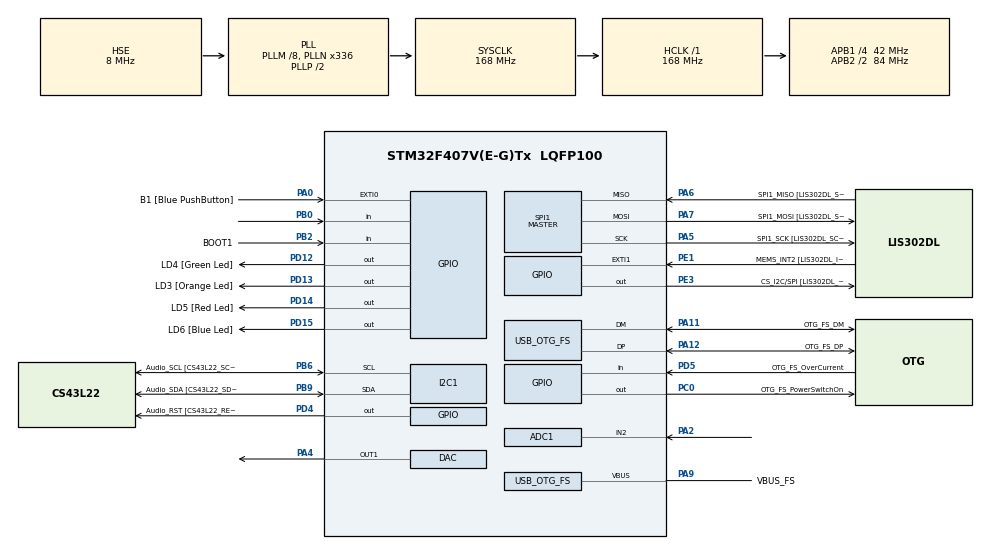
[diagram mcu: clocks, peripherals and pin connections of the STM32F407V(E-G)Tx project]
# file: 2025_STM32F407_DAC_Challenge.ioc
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ADC1.Channel-1\#ChannelRegularConversion=ADC_CHANNEL_2
ADC1.NbrOfConversionFlag=1
ADC1.Rank-1\#ChannelRegularConversion=1
ADC1.SamplingTime-1\#ChannelRegularConversion=ADC_SAMPLETIME_3CYCLES
ADC1.master=1
DAC.DAC_Trigger=DAC_TRIGGER_T2_TRGO
Dma.DAC1.0.Direction=DMA_MEMORY_TO_PERIPH
Dma.DAC1.0.FIFOMode=DMA_FIFOMODE_DISABLE
Dma.DAC1.0.Instance=DMA1_Stream5
Dma.DAC1.0.MemDataAlignment=DMA_MDATAALIGN_WORD
Dma.DAC1.0.MemInc=DMA_MINC_ENABLE
Dma.DAC1.0.Mode=DMA_CIRCULAR
Dma.DAC1.0.PeriphDataAlignment=DMA_PDATAALIGN_WORD
Dma.DAC1.0.PeriphInc=DMA_PINC_DISABLE
Dma.DAC1.0.Priority=DMA_PRIORITY_LOW
Dma.Request0=DAC1
Mcu.Family=STM32F4
Mcu.Name=STM32F407V(E-G)Tx
Mcu.Package=LQFP100
NVIC.DMA1_Stream5_IRQn=true\:0\:0\:false\:false\:true\:false\:true\:true
NVIC.OTG_FS_IRQn=true\:0\:0\:false\:false\:true\:true\:true\:true
NVIC.PriorityGroup=NVIC_PRIORITYGROUP_0
PA0-WKUP.GPIO_Label=B1 [Blue PushButton]
PA0-WKUP.GPIO_ModeDefaultEXTI=GPIO_MODE_EVT_RISING
PA0-WKUP.GPIO_PuPd=GPIO_NOPULL
PA0-WKUP.Signal=GPXTI0
PA10.GPIO_Label=OTG_FS_ID
PA10.GPIO_Mode=GPIO_MODE_AF_PP
PA10.GPIO_PuPd=GPIO_NOPULL
PA10.GPIO_Speed=GPIO_SPEED_FREQ_LOW
PA10.Signal=USB_OTG_FS_ID
PA11.GPIO_Label=OTG_FS_DM
PA11.GPIO_Mode=GPIO_MODE_AF_PP
PA11.GPIO_PuPd=GPIO_NOPULL
PA11.GPIO_Speed=GPIO_SPEED_FREQ_LOW
PA11.Mode=Host_Only
PA11.Signal=USB_OTG_FS_DM
PA12.GPIO_Label=OTG_FS_DP
PA12.GPIO_Mode=GPIO_MODE_AF_PP
PA12.GPIO_PuPd=GPIO_NOPULL
PA12.GPIO_Speed=GPIO_SPEED_FREQ_LOW
PA12.Mode=Host_Only
PA12.Signal=USB_OTG_FS_DP
PA13.GPIO_Label=SWDIO
PA13.Mode=Serial_Wire
PA13.Signal=SYS_JTMS-SWDIO
PA14.GPIO_Label=SWCLK
PA14.Mode=Serial_Wire
PA14.Signal=SYS_JTCK-SWCLK
PA2.Signal=ADCx_IN2
PA4.Signal=COMP_DAC1_group
PA5.GPIO_Label=SPI1_SCK [LIS302DL_SCL/SPC]
PA5.GPIO_Mode=GPIO_MODE_AF_PP
PA5.GPIO_PuPd=GPIO_NOPULL
PA5.GPIO_Speed=GPIO_SPEED_FREQ_LOW
PA5.Mode=Full_Duplex_Master
PA5.Signal=SPI1_SCK
PA6.GPIO_Label=SPI1_MISO [LIS302DL_SDO]
PA6.GPIO_Mode=GPIO_MODE_AF_PP
PA6.GPIO_PuPd=GPIO_NOPULL
PA6.GPIO_Speed=GPIO_SPEED_FREQ_LOW
PA6.Mode=Full_Duplex_Master
PA6.Signal=SPI1_MISO
PA7.GPIO_Label=SPI1_MOSI [LIS302DL_SDA/SDI/SDO]
PA7.GPIO_Mode=GPIO_MODE_AF_PP
PA7.GPIO_PuPd=GPIO_NOPULL
PA7.GPIO_Speed=GPIO_SPEED_FREQ_LOW
PA7.Mode=Full_Duplex_Master
PA7.Signal=SPI1_MOSI
PA9.GPIO_Label=VBUS_FS
PA9.GPIO_Mode=GPIO_MODE_INPUT
PA9.GPIO_PuPd=GPIO_NOPULL
PA9.Mode=Activate_VBUS
PA9.Signal=USB_OTG_FS_VBUS
PB0.Signal=GPIO_Input
PB10.GPIO_Label=CLK_IN [MP45DT02_CLK]
PB10.GPIO_Mode=GPIO_MODE_AF_PP
PB10.GPIO_PuPd=GPIO_NOPULL
PB10.GPIO_Speed=GPIO_SPEED_FREQ_LOW
PB10.Signal=I2S2_CK
PB2.GPIO_Label=BOOT1
PB2.GPIO_Mode=GPIO_MODE_INPUT
PB2.GPIO_PuPd=GPIO_NOPULL
PB2.Signal=GPIO_Input
PB3.GPIO_Label=SWO
PB3.Signal=SYS_JTDO-SWO
PB6.GPIO_Label=Audio_SCL [CS43L22_SCL]
PB6.GPIO_Mode=GPIO_MODE_AF_OD
PB6.GPIO_Pu=GPIO_PULLUP
PB6.GPIO_PuPd=GPIO_NOPULL
PB6.GPIO_Speed=GPIO_SPEED_FREQ_LOW
PB6.Mode=I2C
PB6.Signal=I2C1_SCL
PB9.GPIO_Label=Audio_SDA [CS43L22_SDA]
PB9.GPIO_Mode=GPIO_MODE_AF_OD
PB9.GPIO_Pu=GPIO_PULLUP
PB9.GPIO_PuPd=GPIO_NOPULL
PB9.GPIO_Speed=GPIO_SPEED_FREQ_LOW
PB9.Mode=I2C
PB9.Signal=I2C1_SDA
PC0.GPIO_Label=OTG_FS_PowerSwitchOn
PC0.GPIO_PuPd=GPIO_NOPULL
PC0.GPIO_Speed=GPIO_SPEED_FREQ_LOW
PC0.PinState=GPIO_PIN_SET
PC0.Signal=GPIO_Output
PC10.GPIO_Label=I2S3_SCK [CS43L22_SCLK]
PC10.GPIO_Mode=GPIO_MODE_AF_PP
PC10.GPIO_PuPd=GPIO_NOPULL
PC10.GPIO_Speed=GPIO_SPEED_FREQ_LOW
PC10.Signal=I2S3_CK
PC12.GPIO_Label=I2S3_SD [CS43L22_SDIN]
PC12.GPIO_Mode=GPIO_MODE_AF_PP
PC12.GPIO_PuPd=GPIO_NOPULL
PC12.GPIO_Speed=GPIO_SPEED_FREQ_LOW
PC12.Signal=I2S3_SD
PC14-OSC32_IN.GPIO_Label=PC14-OSC32_IN
PC14-OSC32_IN.Mode=LSE-External-Oscillator
PC14-OSC32_IN.Signal=RCC_OSC32_IN
PC15-OSC32_OUT.GPIO_Label=PC15-OSC32_OUT
PC15-OSC32_OUT.Mode=LSE-External-Oscillator
PC15-OSC32_OUT.Signal=RCC_OSC32_OUT
PC3.GPIO_Label=PDM_OUT [MP45DT02_DOUT]
PC3.GPIO_Mode=GPIO_MODE_AF_PP
PC3.GPIO_PuPd=GPIO_NOPULL
PC3.GPIO_Speed=GPIO_SPEED_FREQ_LOW
PC3.Signal=I2S2_SD
PC7.GPIO_Label=I2S3_MCK [CS43L22_MCLK]
PC7.GPIO_Mode=GPIO_MODE_AF_PP
PC7.GPIO_PuPd=GPIO_NOPULL
PC7.GPIO_Speed=GPIO_SPEED_FREQ_LOW
PC7.Signal=I2S3_MCK
PD12.GPIO_Label=LD4 [Green Led]
PD12.GPIO_PuPd=GPIO_NOPULL
PD12.GPIO_Speed=GPIO_SPEED_FREQ_LOW
PD12.Signal=GPIO_Output
PD13.GPIO_Label=LD3 [Orange Led]
PD13.GPIO_PuPd=GPIO_NOPULL
PD13.GPIO_Speed=GPIO_SPEED_FREQ_LOW
PD13.Signal=GPIO_Output
PD14.GPIO_Label=LD5 [Red Led]
PD14.GPIO_PuPd=GPIO_NOPULL
PD14.GPIO_Speed=GPIO_SPEED_FREQ_LOW
PD14.Signal=GPIO_Output
PD15.GPIO_Label=LD6 [Blue Led]
PD15.GPIO_PuPd=GPIO_NOPULL
PD15.GPIO_Speed=GPIO_SPEED_FREQ_LOW
PD15.Signal=GPIO_Output
PD4.GPIO_Label=Audio_RST [CS43L22_RESET]
PD4.GPIO_PuPd=GPIO_NOPULL
PD4.GPIO_Speed=GPIO_SPEED_FREQ_LOW
PD4.Signal=GPIO_Output
PD5.GPIO_Label=OTG_FS_OverCurrent
PD5.GPIO_Mode=GPIO_MODE_INPUT
PD5.GPIO_PuPd=GPIO_NOPULL
PD5.Signal=GPIO_Input
PE1.GPIO_Label=MEMS_INT2 [LIS302DL_INT2]
PE1.GPIO_ModeDefaultEXTI=GPIO_MODE_EVT_RISING
PE1.GPIO_PuPd=GPIO_NOPULL
PE1.Signal=GPXTI1
PE3.GPIO_Label=CS_I2C/SPI [LIS302DL_CS_I2C/SPI]
PE3.GPIO_PuPd=GPIO_NOPULL
PE3.GPIO_Speed=GPIO_SPEED_FREQ_LOW
PE3.Signal=GPIO_Output
PH0-OSC_IN.GPIO_Label=PH0-OSC_IN
PH0-OSC_IN.Mode=HSE-External-Oscillator
PH0-OSC_IN.Signal=RCC_OSC_IN
PH1-OSC_OUT.GPIO_Label=PH1-OSC_OUT
PH1-OSC_OUT.Mode=HSE-External-Oscillator
PH1-OSC_OUT.Signal=RCC_OSC_OUT
ProjectManager.HeapSize=0x200
ProjectManager.StackSize=0x400
ProjectManager.TargetToolchain=STM32CubeIDE
RCC.48MHZClocksFreq_Value=48000000
RCC.AHBFreq_Value=168000000
RCC.APB1CLKDivider=RCC_HCLK_DIV4
RCC.APB1Freq_Value=42000000
RCC.APB1TimFreq_Value=84000000
RCC.APB2CLKDivider=RCC_HCLK_DIV2
RCC.APB2Freq_Value=84000000
RCC.APB2TimFreq_Value=168000000
RCC.CortexFreq_Value=168000000
RCC.HCLKFreq_Value=168000000
RCC.HSE_VALUE=8000000
RCC.HSI_VALUE=16000000
RCC.PLLM=8
RCC.PLLN=336
RCC.PLLQ=7
RCC.SYSCLKFreq_VALUE=168000000
RCC.SYSCLKSource=RCC_SYSCLKSOURCE_PLLCLK
RCC.VCOOutputFreq_Value=336000000
SH.ADCx_IN2.0=ADC1_IN2,IN2
SH.COMP_DAC1_group.0=DAC_OUT1,DAC_OUT1
SPI1.BaudRatePrescaler-Full_Duplex_Master=SPI_BAUDRATEPRESCALER_2
SPI1.CalculateBaudRate-Full_Duplex_Master=42.0 MBits/s
SPI1.Direction=SPI_DIRECTION_2LINES
SPI1.Mode=SPI_MODE_MASTER
SPI1.Mode-Full_Duplex_Master=SPI_MODE_MASTER
SPI1.VirtualType=VM_MASTER
TIM2.Period=100-1
TIM2.Prescaler=84-1
TIM2.TIM_MasterOutputTrigger=TIM_TRGO_UPDATE
USB_HOST.BSP.number=1
USB_HOST.USBH_HandleTypeDef-CDC_FS=hUsbHostFS
USB_HOST.VirtualModeFS=Cdc
USB_HOST0.BSP.STBoard=false
USB_HOST0.BSP.api=Unknown
USB_HOST0.BSP.instance=PC0
USB_HOST0.BSP.ip=GPIO
USB_HOST0.BSP.mode=Output
USB_HOST0.BSP.name=Drive_VBUS_FS
USB_HOST0.BSP.solution=PC0
USB_OTG_FS.VirtualMode=Host_Only
USB_OTG_FS.phy_itface=HCD_PHY_EMBEDDED
VP_TIM2_VS_ClockSourceINT.Mode=Internal
VP_USB_HOST_VS_USB_HOST_CDC_FS.Mode=CDC_FS
board=STM32F407G-DISC1

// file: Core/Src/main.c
/* USER CODE BEGIN Header */
/**
  ******************************************************************************
  * @file           : main.c
  * @brief          : Main program body
  ******************************************************************************
  * @attention
  *
  * Copyright (c) 2025 STMicroelectronics.
  * All rights reserved.
  *
  * This software is licensed under terms that can be found in the LICENSE file
  * in the root directory of this software component.
  * If no LICENSE file comes with this software, it is provided AS-IS.
  *
  ******************************************************************************
  */
/* USER CODE END Header */
#include "main.h"
#include "usb_host.h"

/* USER CODE BEGIN Includes */
#include "math.h"
/* USER CODE END Includes */

ADC_HandleTypeDef hadc1;

DAC_HandleTypeDef hdac;
DMA_HandleTypeDef hdma_dac1;

I2C_HandleTypeDef hi2c1;

SPI_HandleTypeDef hspi1;

TIM_HandleTypeDef htim2;

/* USER CODE BEGIN PV */

#define PI 3.14159265358979323846
#define MAX_SINE_POINTS 4096 // Maximum possible points (e.g., from 12-bit ADC max value + 1)
                             // Adjust if your ADC range for NUM_POINTS is smaller or memory is very tight.

uint32_t gSine_Values[MAX_SINE_POINTS]; // Statically allocate for max size
volatile uint16_t NUM_POINTS = 100;     // Current number of points for the sine wave.
                                        // Initialize to a sensible default.
                                        // 'volatile' because it's changed in main loop and DMA setup uses it.
uint16_t gADC_Value = 0;                // To store the raw ADC reading

/* USER CODE END PV */

void SystemClock_Config(void);
static void MX_GPIO_Init(void);
static void MX_DMA_Init(void);
static void MX_I2C1_Init(void);
static void MX_SPI1_Init(void);
static void MX_DAC_Init(void);
static void MX_TIM2_Init(void);
static void MX_ADC1_Init(void);
void MX_USB_HOST_Process(void);

/* USER CODE BEGIN 0 */
double map(long x, long in_min, long in_max, long out_min, long out_max) {

  return (x - in_min) * (out_max - out_min) / (in_max - in_min) + out_min;

}

void get_SineVal()
{
	for(int i=0; i<NUM_POINTS; i++){
		gSine_Values[i] = ((sin(i*2*PI/NUM_POINTS)+1)*(4096/2));
	}
}

void update_SineWaveTable()
{
    if (NUM_POINTS == 0) { // Prevent division by zero and zero-length DMA
        // This case should ideally be handled before calling this function
        // by ensuring NUM_POINTS is always >= a minimum (e.g., 2)
        return;
    }
    if (NUM_POINTS > MAX_SINE_POINTS) {
        // This should also be prevented by sanitizing NUM_POINTS
        return;
    }

    for(uint16_t i = 0; i < NUM_POINTS; i++) { // Ensure loop variable matches NUM_POINTS type
        // Use floating point numbers for calculation for precision
        // (sin() returns -1.0 to 1.0) + 1.0 => 0.0 to 2.0
        // Scale to 0-4095 for a 12-bit DAC
        gSine_Values[i] = (uint32_t)((sin( (double)i * 2.0 * PI / map(NUM_POINTS, 0, 4096, 20, 100) ) + 1.0) * (4095.0 / 2.0));
    }
}

/* USER CODE END 0 */

int main(void)
{

  /* MCU Configuration--------------------------------------------------------*/

  /* Reset of all peripherals, Initializes the Flash interface and the Systick. */
  HAL_Init();

  /* Configure the system clock */
  SystemClock_Config();

  /* Initialize all configured peripherals */
  MX_GPIO_Init();
  MX_DMA_Init();
  MX_I2C1_Init();
  MX_SPI1_Init();
  MX_USB_HOST_Init();
  MX_DAC_Init();
  MX_TIM2_Init();
  MX_ADC1_Init();
  /* USER CODE BEGIN 2 */

  // --- Initial ADC reading to set NUM_POINTS before first use ---
  HAL_ADC_Start(&hadc1);
  if (HAL_ADC_PollForConversion(&hadc1, 100) == HAL_OK) { // Check poll success
    gADC_Value = HAL_ADC_GetValue(&hadc1);
  } else {
    gADC_Value = NUM_POINTS; // Fallback to default if ADC poll fails
  }
  HAL_ADC_Stop(&hadc1);

  // Sanitize and set NUM_POINTS from the initial ADC reading
  if (gADC_Value < 4) { // Ensure at least 2 points for a "wave" and prevent issues
    NUM_POINTS = 4;
  } else if (gADC_Value >= MAX_SINE_POINTS) { // Cap at max buffer size
    NUM_POINTS = MAX_SINE_POINTS;
  } else {
    NUM_POINTS = gADC_Value;
  }
  // --- End of initial NUM_POINTS setup ---

  HAL_TIM_Base_Start(&htim2); // Start timer that triggers DAC DMA

  update_SineWaveTable(); // Calculate sine wave based on initial NUM_POINTS

  // Start DAC DMA transfer
  // Ensure NUM_POINTS is valid before starting DMA
  if (NUM_POINTS > 0 && NUM_POINTS <= MAX_SINE_POINTS) {
    HAL_DAC_Start_DMA(&hdac, DAC_CHANNEL_1, gSine_Values, NUM_POINTS, DAC_ALIGN_12B_R);
  } else {
    // Handle error: NUM_POINTS is invalid for DMA
    Error_Handler();
  }

  /* USER CODE END 2 */

  /* Infinite loop */
  /* USER CODE BEGIN WHILE */
  while (1)
  {
	  uint16_t new_adc_value;
	  uint16_t new_num_points;

	  // Read ADC
	  HAL_ADC_Start(&hadc1);
	  if (HAL_ADC_PollForConversion(&hadc1, 100) == HAL_OK) {
		  new_adc_value = HAL_ADC_GetValue(&hadc1);
	  } else {
		  new_adc_value = NUM_POINTS; // Keep current NUM_POINTS if ADC poll fails
	  }
	  HAL_ADC_Stop(&hadc1);

	  // Sanitize the new value to determine new_num_points
	  if (new_adc_value < 2) { // Minimum 2 points
		  new_num_points = 2;
	  } else if (new_adc_value >= MAX_SINE_POINTS) {
		  new_num_points = MAX_SINE_POINTS;
	  } else {
		  new_num_points = new_adc_value;
	  }

	  // Only update and restart DMA if NUM_POINTS has actually changed
	  if (new_num_points != NUM_POINTS) {
		  HAL_DAC_Stop_DMA(&hdac, DAC_CHANNEL_1); // Stop existing DMA

		  NUM_POINTS = new_num_points; // Update global NUM_POINTS
		  gADC_Value = new_adc_value;   // Store the raw ADC value (optional if only NUM_POINTS is used elsewhere)

		  update_SineWaveTable(); // Recalculate sine wave values

		  // Restart DMA with new data and length
		  if (NUM_POINTS > 0 && NUM_POINTS <= MAX_SINE_POINTS) {
			 HAL_DAC_Start_DMA(&hdac, DAC_CHANNEL_1, gSine_Values, NUM_POINTS, DAC_ALIGN_12B_R);
		  } else {
			  // This should not happen if sanitized correctly
			  Error_Handler();
		  }
	  }
    /* USER CODE END WHILE */
    MX_USB_HOST_Process();

  }
}

void SystemClock_Config(void)
{
  RCC_OscInitTypeDef RCC_OscInitStruct = {0};
  RCC_ClkInitTypeDef RCC_ClkInitStruct = {0};

  /** Configure the main internal regulator output voltage
  */
  __HAL_RCC_PWR_CLK_ENABLE();
  __HAL_PWR_VOLTAGESCALING_CONFIG(PWR_REGULATOR_VOLTAGE_SCALE1);

  /** Initializes the RCC Oscillators according to the specified parameters
  * in the RCC_OscInitTypeDef structure.
  */
  RCC_OscInitStruct.OscillatorType = RCC_OSCILLATORTYPE_HSE;
  RCC_OscInitStruct.HSEState = RCC_HSE_ON;
  RCC_OscInitStruct.PLL.PLLState = RCC_PLL_ON;
  RCC_OscInitStruct.PLL.PLLSource = RCC_PLLSOURCE_HSE;
  RCC_OscInitStruct.PLL.PLLM = 8;
  RCC_OscInitStruct.PLL.PLLN = 336;
  RCC_OscInitStruct.PLL.PLLP = RCC_PLLP_DIV2;
  RCC_OscInitStruct.PLL.PLLQ = 7;
  if (HAL_RCC_OscConfig(&RCC_OscInitStruct) != HAL_OK)
  {
    Error_Handler();
  }

  /** Initializes the CPU, AHB and APB buses clocks
  */
  RCC_ClkInitStruct.ClockType = RCC_CLOCKTYPE_HCLK|RCC_CLOCKTYPE_SYSCLK
                              |RCC_CLOCKTYPE_PCLK1|RCC_CLOCKTYPE_PCLK2;
  RCC_ClkInitStruct.SYSCLKSource = RCC_SYSCLKSOURCE_PLLCLK;
  RCC_ClkInitStruct.AHBCLKDivider = RCC_SYSCLK_DIV1;
  RCC_ClkInitStruct.APB1CLKDivider = RCC_HCLK_DIV4;
  RCC_ClkInitStruct.APB2CLKDivider = RCC_HCLK_DIV2;

  if (HAL_RCC_ClockConfig(&RCC_ClkInitStruct, FLASH_LATENCY_5) != HAL_OK)
  {
    Error_Handler();
  }
}

static void MX_ADC1_Init(void)
{

  ADC_ChannelConfTypeDef sConfig = {0};

  /** Configure the global features of the ADC (Clock, Resolution, Data Alignment and number of conversion)
  */
  hadc1.Instance = ADC1;
  hadc1.Init.ClockPrescaler = ADC_CLOCK_SYNC_PCLK_DIV4;
  hadc1.Init.Resolution = ADC_RESOLUTION_12B;
  hadc1.Init.ScanConvMode = DISABLE;
  hadc1.Init.ContinuousConvMode = DISABLE;
  hadc1.Init.DiscontinuousConvMode = DISABLE;
  hadc1.Init.ExternalTrigConvEdge = ADC_EXTERNALTRIGCONVEDGE_NONE;
  hadc1.Init.ExternalTrigConv = ADC_SOFTWARE_START;
  hadc1.Init.DataAlign = ADC_DATAALIGN_RIGHT;
  hadc1.Init.NbrOfConversion = 1;
  hadc1.Init.DMAContinuousRequests = DISABLE;
  hadc1.Init.EOCSelection = ADC_EOC_SINGLE_CONV;
  if (HAL_ADC_Init(&hadc1) != HAL_OK)
  {
    Error_Handler();
  }

  /** Configure for the selected ADC regular channel its corresponding rank in the sequencer and its sample time.
  */
  sConfig.Channel = ADC_CHANNEL_2;
  sConfig.Rank = 1;
  sConfig.SamplingTime = ADC_SAMPLETIME_3CYCLES;
  if (HAL_ADC_ConfigChannel(&hadc1, &sConfig) != HAL_OK)
  {
    Error_Handler();
  }

}

static void MX_DAC_Init(void)
{

  DAC_ChannelConfTypeDef sConfig = {0};

  /** DAC Initialization
  */
  hdac.Instance = DAC;
  if (HAL_DAC_Init(&hdac) != HAL_OK)
  {
    Error_Handler();
  }

  /** DAC channel OUT1 config
  */
  sConfig.DAC_Trigger = DAC_TRIGGER_T2_TRGO;
  sConfig.DAC_OutputBuffer = DAC_OUTPUTBUFFER_ENABLE;
  if (HAL_DAC_ConfigChannel(&hdac, &sConfig, DAC_CHANNEL_1) != HAL_OK)
  {
    Error_Handler();
  }

}

static void MX_I2C1_Init(void)
{

  hi2c1.Instance = I2C1;
  hi2c1.Init.ClockSpeed = 100000;
  hi2c1.Init.DutyCycle = I2C_DUTYCYCLE_2;
  hi2c1.Init.OwnAddress1 = 0;
  hi2c1.Init.AddressingMode = I2C_ADDRESSINGMODE_7BIT;
  hi2c1.Init.DualAddressMode = I2C_DUALADDRESS_DISABLE;
  hi2c1.Init.OwnAddress2 = 0;
  hi2c1.Init.GeneralCallMode = I2C_GENERALCALL_DISABLE;
  hi2c1.Init.NoStretchMode = I2C_NOSTRETCH_DISABLE;
  if (HAL_I2C_Init(&hi2c1) != HAL_OK)
  {
    Error_Handler();
  }

}

static void MX_SPI1_Init(void)
{

  /* SPI1 parameter configuration*/
  hspi1.Instance = SPI1;
  hspi1.Init.Mode = SPI_MODE_MASTER;
  hspi1.Init.Direction = SPI_DIRECTION_2LINES;
  hspi1.Init.DataSize = SPI_DATASIZE_8BIT;
  hspi1.Init.CLKPolarity = SPI_POLARITY_LOW;
  hspi1.Init.CLKPhase = SPI_PHASE_1EDGE;
  hspi1.Init.NSS = SPI_NSS_SOFT;
  hspi1.Init.BaudRatePrescaler = SPI_BAUDRATEPRESCALER_2;
  hspi1.Init.FirstBit = SPI_FIRSTBIT_MSB;
  hspi1.Init.TIMode = SPI_TIMODE_DISABLE;
  hspi1.Init.CRCCalculation = SPI_CRCCALCULATION_DISABLE;
  hspi1.Init.CRCPolynomial = 10;
  if (HAL_SPI_Init(&hspi1) != HAL_OK)
  {
    Error_Handler();
  }

}

static void MX_TIM2_Init(void)
{

  TIM_ClockConfigTypeDef sClockSourceConfig = {0};
  TIM_MasterConfigTypeDef sMasterConfig = {0};

  htim2.Instance = TIM2;
  htim2.Init.Prescaler = 84-1;
  htim2.Init.CounterMode = TIM_COUNTERMODE_UP;
  htim2.Init.Period = 100-1;
  htim2.Init.ClockDivision = TIM_CLOCKDIVISION_DIV1;
  htim2.Init.AutoReloadPreload = TIM_AUTORELOAD_PRELOAD_DISABLE;
  if (HAL_TIM_Base_Init(&htim2) != HAL_OK)
  {
    Error_Handler();
  }
  sClockSourceConfig.ClockSource = TIM_CLOCKSOURCE_INTERNAL;
  if (HAL_TIM_ConfigClockSource(&htim2, &sClockSourceConfig) != HAL_OK)
  {
    Error_Handler();
  }
  sMasterConfig.MasterOutputTrigger = TIM_TRGO_UPDATE;
  sMasterConfig.MasterSlaveMode = TIM_MASTERSLAVEMODE_DISABLE;
  if (HAL_TIMEx_MasterConfigSynchronization(&htim2, &sMasterConfig) != HAL_OK)
  {
    Error_Handler();
  }

}

static void MX_DMA_Init(void)
{

  /* DMA controller clock enable */
  __HAL_RCC_DMA1_CLK_ENABLE();

  /* DMA interrupt init */
  /* DMA1_Stream5_IRQn interrupt configuration */
  HAL_NVIC_SetPriority(DMA1_Stream5_IRQn, 0, 0);
  HAL_NVIC_EnableIRQ(DMA1_Stream5_IRQn);

}

static void MX_GPIO_Init(void)
{
  GPIO_InitTypeDef GPIO_InitStruct = {0};

  /* GPIO Ports Clock Enable */
  __HAL_RCC_GPIOE_CLK_ENABLE();
  __HAL_RCC_GPIOC_CLK_ENABLE();
  __HAL_RCC_GPIOH_CLK_ENABLE();
  __HAL_RCC_GPIOA_CLK_ENABLE();
  __HAL_RCC_GPIOB_CLK_ENABLE();
  __HAL_RCC_GPIOD_CLK_ENABLE();

  /*Configure GPIO pin Output Level */
  HAL_GPIO_WritePin(CS_I2C_SPI_GPIO_Port, CS_I2C_SPI_Pin, GPIO_PIN_RESET);

  /*Configure GPIO pin Output Level */
  HAL_GPIO_WritePin(OTG_FS_PowerSwitchOn_GPIO_Port, OTG_FS_PowerSwitchOn_Pin, GPIO_PIN_SET);

  /*Configure GPIO pin Output Level */
  HAL_GPIO_WritePin(GPIOD, LD4_Pin|LD3_Pin|LD5_Pin|LD6_Pin
                          |Audio_RST_Pin, GPIO_PIN_RESET);

  /*Configure GPIO pin : CS_I2C_SPI_Pin */
  GPIO_InitStruct.Pin = CS_I2C_SPI_Pin;
  GPIO_InitStruct.Mode = GPIO_MODE_OUTPUT_PP;
  GPIO_InitStruct.Pull = GPIO_NOPULL;
  GPIO_InitStruct.Speed = GPIO_SPEED_FREQ_LOW;
  HAL_GPIO_Init(CS_I2C_SPI_GPIO_Port, &GPIO_InitStruct);

  /*Configure GPIO pin : OTG_FS_PowerSwitchOn_Pin */
  GPIO_InitStruct.Pin = OTG_FS_PowerSwitchOn_Pin;
  GPIO_InitStruct.Mode = GPIO_MODE_OUTPUT_PP;
  GPIO_InitStruct.Pull = GPIO_NOPULL;
  GPIO_InitStruct.Speed = GPIO_SPEED_FREQ_LOW;
  HAL_GPIO_Init(OTG_FS_PowerSwitchOn_GPIO_Port, &GPIO_InitStruct);

  /*Configure GPIO pin : PDM_OUT_Pin */
  GPIO_InitStruct.Pin = PDM_OUT_Pin;
  GPIO_InitStruct.Mode = GPIO_MODE_AF_PP;
  GPIO_InitStruct.Pull = GPIO_NOPULL;
  GPIO_InitStruct.Speed = GPIO_SPEED_FREQ_LOW;
  GPIO_InitStruct.Alternate = GPIO_AF5_SPI2;
  HAL_GPIO_Init(PDM_OUT_GPIO_Port, &GPIO_InitStruct);

  /*Configure GPIO pin : B1_Pin */
  GPIO_InitStruct.Pin = B1_Pin;
  GPIO_InitStruct.Mode = GPIO_MODE_EVT_RISING;
  GPIO_InitStruct.Pull = GPIO_NOPULL;
  HAL_GPIO_Init(B1_GPIO_Port, &GPIO_InitStruct);

  /*Configure GPIO pins : PB0 BOOT1_Pin */
  GPIO_InitStruct.Pin = GPIO_PIN_0|BOOT1_Pin;
  GPIO_InitStruct.Mode = GPIO_MODE_INPUT;
  GPIO_InitStruct.Pull = GPIO_NOPULL;
  HAL_GPIO_Init(GPIOB, &GPIO_InitStruct);

  /*Configure GPIO pin : CLK_IN_Pin */
  GPIO_InitStruct.Pin = CLK_IN_Pin;
  GPIO_InitStruct.Mode = GPIO_MODE_AF_PP;
  GPIO_InitStruct.Pull = GPIO_NOPULL;
  GPIO_InitStruct.Speed = GPIO_SPEED_FREQ_LOW;
  GPIO_InitStruct.Alternate = GPIO_AF5_SPI2;
  HAL_GPIO_Init(CLK_IN_GPIO_Port, &GPIO_InitStruct);

  /*Configure GPIO pins : LD4_Pin LD3_Pin LD5_Pin LD6_Pin
                           Audio_RST_Pin */
  GPIO_InitStruct.Pin = LD4_Pin|LD3_Pin|LD5_Pin|LD6_Pin
                          |Audio_RST_Pin;
  GPIO_InitStruct.Mode = GPIO_MODE_OUTPUT_PP;
  GPIO_InitStruct.Pull = GPIO_NOPULL;
  GPIO_InitStruct.Speed = GPIO_SPEED_FREQ_LOW;
  HAL_GPIO_Init(GPIOD, &GPIO_InitStruct);

  /*Configure GPIO pins : I2S3_MCK_Pin I2S3_SCK_Pin I2S3_SD_Pin */
  GPIO_InitStruct.Pin = I2S3_MCK_Pin|I2S3_SCK_Pin|I2S3_SD_Pin;
  GPIO_InitStruct.Mode = GPIO_MODE_AF_PP;
  GPIO_InitStruct.Pull = GPIO_NOPULL;
  GPIO_InitStruct.Speed = GPIO_SPEED_FREQ_LOW;
  GPIO_InitStruct.Alternate = GPIO_AF6_SPI3;
  HAL_GPIO_Init(GPIOC, &GPIO_InitStruct);

  /*Configure GPIO pin : OTG_FS_OverCurrent_Pin */
  GPIO_InitStruct.Pin = OTG_FS_OverCurrent_Pin;
  GPIO_InitStruct.Mode = GPIO_MODE_INPUT;
  GPIO_InitStruct.Pull = GPIO_NOPULL;
  HAL_GPIO_Init(OTG_FS_OverCurrent_GPIO_Port, &GPIO_InitStruct);

  /*Configure GPIO pin : MEMS_INT2_Pin */
  GPIO_InitStruct.Pin = MEMS_INT2_Pin;
  GPIO_InitStruct.Mode = GPIO_MODE_EVT_RISING;
  GPIO_InitStruct.Pull = GPIO_NOPULL;
  HAL_GPIO_Init(MEMS_INT2_GPIO_Port, &GPIO_InitStruct);

}

void Error_Handler(void)
{
  __disable_irq();
  while (1)
  {
  }
}
